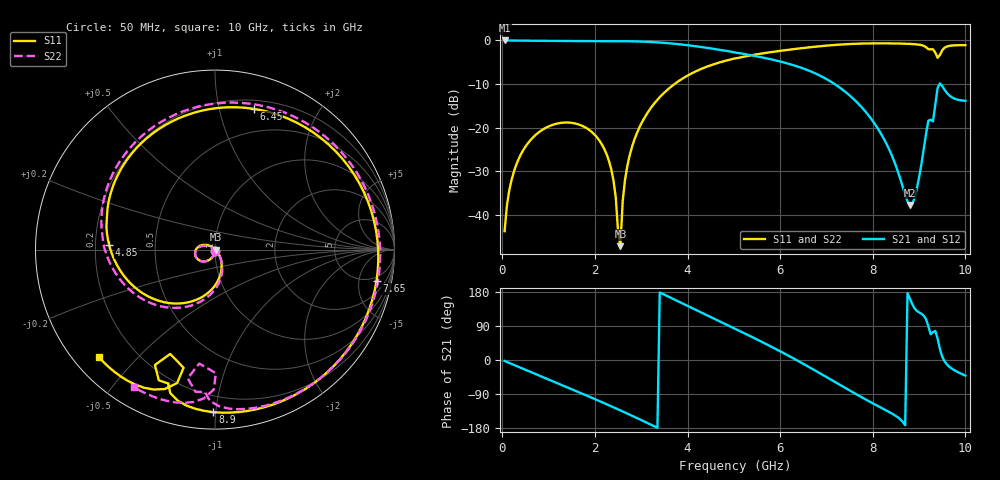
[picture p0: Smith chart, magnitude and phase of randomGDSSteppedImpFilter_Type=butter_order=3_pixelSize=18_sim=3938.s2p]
! freq	dB(S11)	phase(S11)	dB(S12)	phase(S12)
!  dB(S21)	phase(S21)	dB(S22)	phase(S22)
!S-par simulation data
#  GHz  S  DB  R 50
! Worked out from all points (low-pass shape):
!   200 points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, 50 MHz to 10 GHz, reference 50 ohm
!   highest |S21| = 0.00 dB at 50 MHz (marker M1); lowest = -37.8 dB at 8.8 GHz (marker M2)
!   |S21| within 3 dB of the highest: start of sweep to 5.169 GHz
!   lowest |S11| = -47.2 dB at 2.55 GHz (marker M3), VSWR 1.01, Z = 50.4 - j0.126 ohm
!   |S11| at or under -10 dB: start of sweep to 3.719 GHz
!   |S22| runs from -46.4 to -0.6 dB; largest |S21 - S12| = 0
!   S11 on the Smith chart (normalised r, x): 50 MHz: 1.00, -0.01; 4.85 GHz: 0.26, +0.02; 6.45 GHz: 0.27, +1.27; 7.65 GHz: 3.98, -8.64; 8.9 GHz: 0.10, -0.98; 10 GHz: 0.07, -0.39
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0.05  -43.77 -91.6  -0.00 -2.6  -0.00 -2.6  -43.77 -91.5
0.2  -32.02 -99.8  -0.02 -10.4  -0.02 -10.4  -32.02 -99.5
0.55  -23.63 -119.4  -0.06 -28.4  -0.06 -28.4  -23.64 -118.5
1.75  -19.72 177.2  -0.15 -90.1  -0.15 -90.1  -19.73 -179.2
2.3  -27.54 146.1  -0.15 -119.3  -0.15 -119.3  -27.60 153.7
2.55  -47.21 -16.7  -0.16 -133.0  -0.16 -133.0  -46.43 -72.4
2.6  -36.85 -41.8  -0.17 -135.8  -0.17 -135.8  -36.62 -53.0
2.75  -26.40 -55.1  -0.19 -144.2  -0.19 -144.2  -26.32 -55.7
3.4  -13.02 -94.8  -0.48 178.2  -0.48 178.2  -13.00 -90.6
4.15  -7.24 -140.3  -1.29 133.9  -1.29 133.9  -7.22 -133.4
4.85  -4.58 177.5  -2.42 92.8  -2.42 92.8  -4.57 -173.1
5.05  -4.09 165.1  -2.82 81.1  -2.82 81.1  -4.07 175.3
5.75  -2.76 121.7  -4.21 38.8  -4.21 38.8  -2.76 134.8
6.45  -1.79 74.7  -6.25 -6.7  -6.25 -6.7  -1.80 90.3
6.7  -1.50 57.0  -7.29 -23.9  -7.29 -23.9  -1.50 73.2
7.65  -0.76 -10.9  -14.10 -90.8  -14.10 -90.8  -0.75 5.6
8.35  -0.67 -57.1  -24.93 -137.0  -24.93 -137.0  -0.65 -41.4
8.8  -0.80 -84.5  -37.78 162.5  -37.78 162.5  -0.76 -69.2
8.9  -0.86 -90.6  -36.25 136.7  -36.25 136.7  -0.82 -75.3
9.35  -2.79 -117.5  -14.66 76.7  -14.66 76.7  -2.71 -102.0
9.45  -3.34 -104.9  -9.86 28.6  -9.86 28.6  -3.24 -89.6
10  -1.09 -137.1  -13.85 -41.2  -13.85 -41.2  -1.02 -120.5
